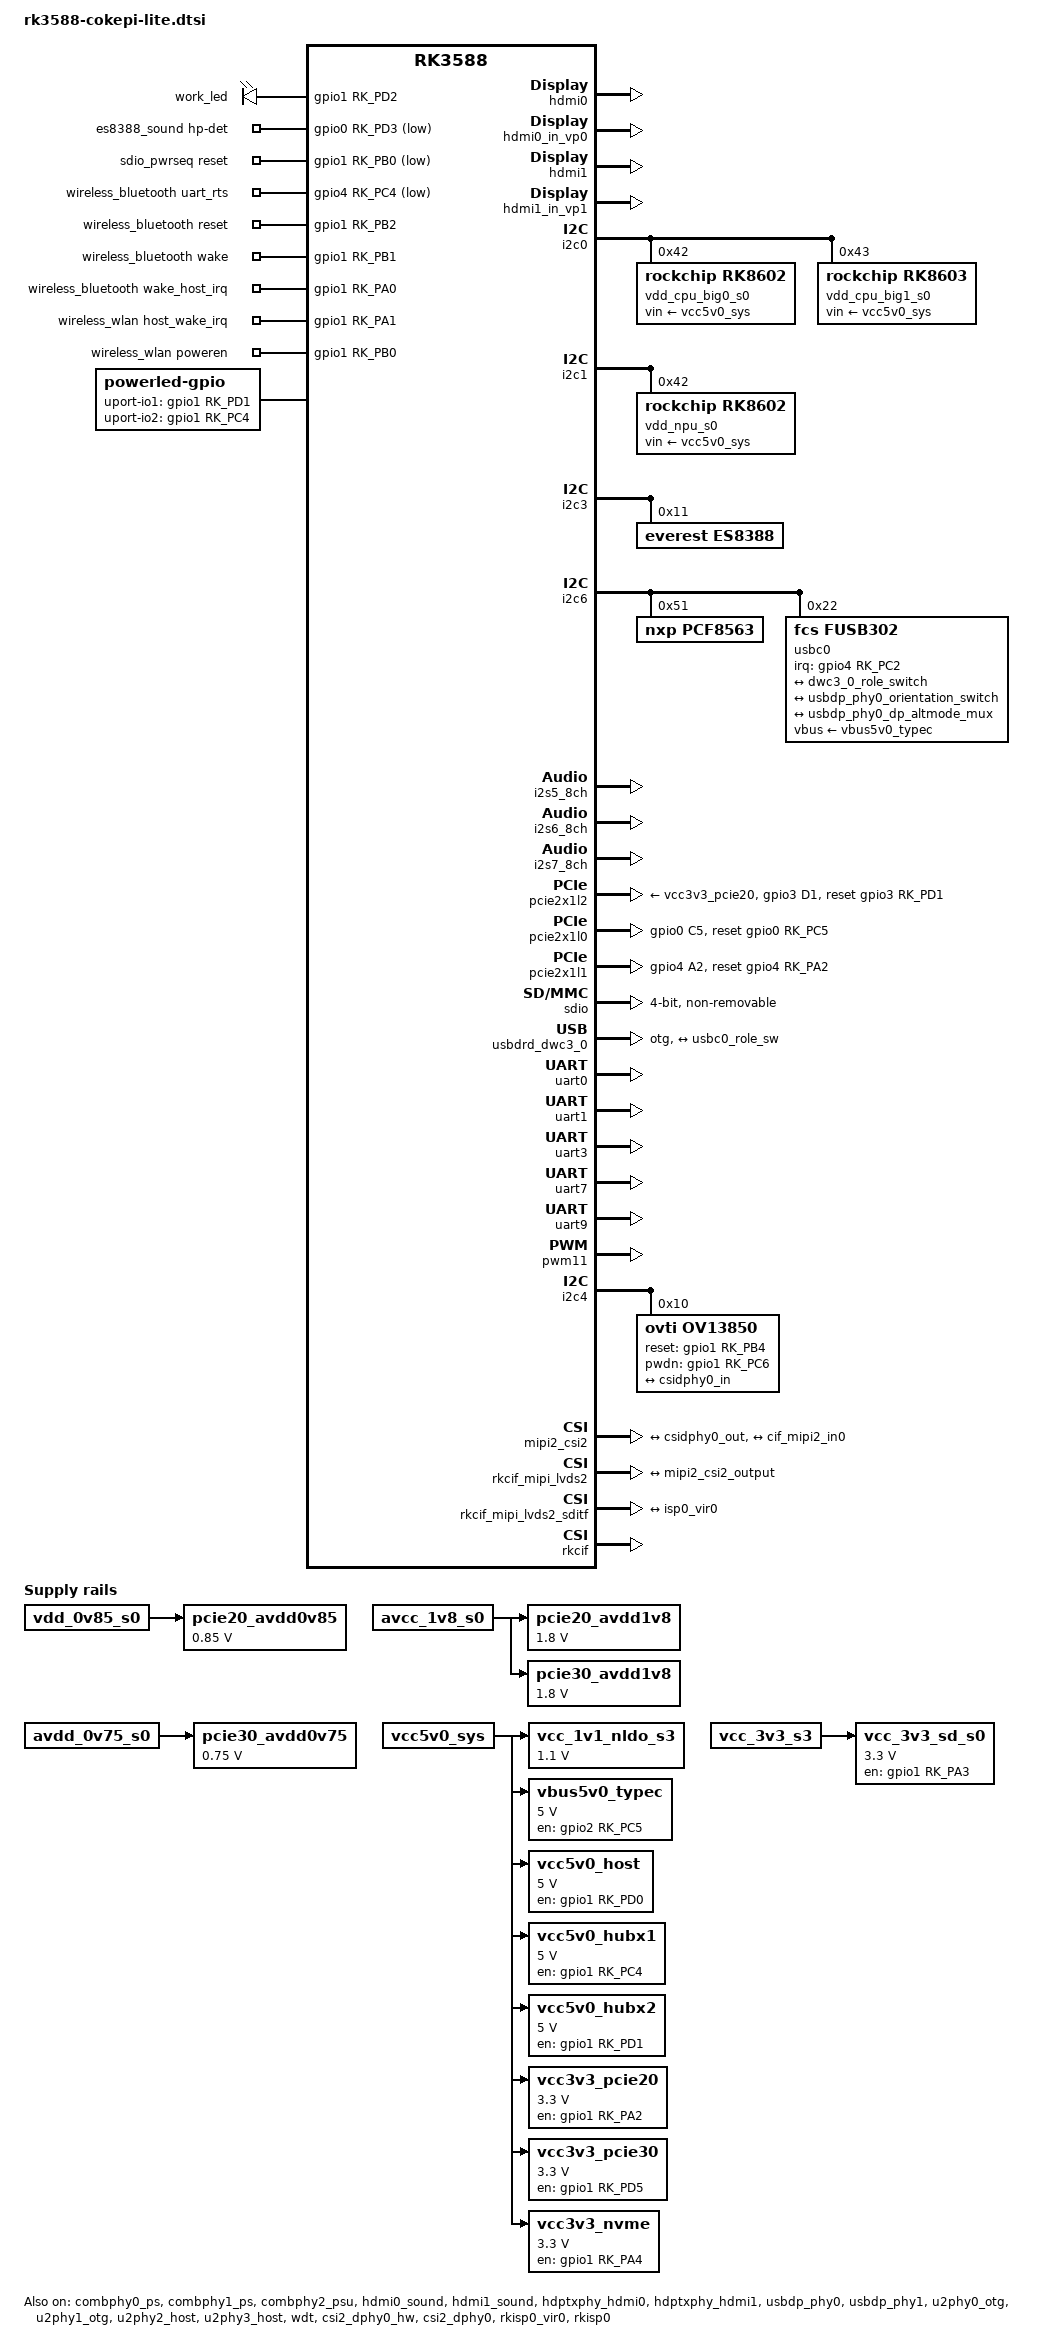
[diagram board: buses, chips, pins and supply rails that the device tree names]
// SPDX-License-Identifier: (GPL-2.0+ OR MIT)
/*
 * Copyright (c) 2021 Rockchip Electronics Co., Ltd.
 *
 */

#include "dt-bindings/usb/pd.h"
#include "rk3588.dtsi"
#include "rk3588-cokepi.dtsi"
#include "rk3588-rk806-single.dtsi"

#define HDMIRX_ENABLE 0

#define MIPI_CSI_DPHY0 1
#define MIPI_CSI_DPHY1 0

/ {
	/* If hdmirx node is enabled, should add cma reserved-memory */

	rk_keys: rockchip-keys {
		status = "disabled";
		compatible = "rockchip,keys";
	};

	leds: leds {
		compatible = "gpio-leds";
		work_led: work {
			gpios = <&gpio1 RK_PD2 GPIO_ACTIVE_HIGH>;
			linux,default-trigger = "heartbeat";
		};
	};

	es8388_sound: es8388-sound {
		status = "okay";
		compatible = "rockchip,multicodecs-card";
		rockchip,card-name = "rockchip-es8388i";
		hp-det-gpio = <&gpio0 RK_PD3 GPIO_ACTIVE_LOW>; /* HIGH to force!! */
		spk-con-gpio;
		hp-con-gpio;
		rockchip,format = "i2s";
		rockchip,mclk-fs = <256>;
		rockchip,cpu = <&i2s0_8ch>;
		rockchip,codec = <&es8388>;
		rockchip,audio-routing =
			/*"Headphone", "LOUT1",
			"Headphone", "ROUT1",
			"Speaker", "LOUT2",
			"Speaker", "ROUT2",*/
			"Headphone", "Headphone Power",
			"Headphone", "Headphone Power",
			"Speaker", "Speaker Power",
			"Speaker", "Speaker Power",
			"LINPUT1", "Main Mic",
			"LINPUT2", "Main Mic",
			"RINPUT1", "Headset Mic",
			"RINPUT2", "Headset Mic";
		pinctrl-names = "default";
		pinctrl-0 = <&hp_det>;
	};

#if (HDMIRX_ENABLE == 1)
	hdmiin-sound {
		compatible = "rockchip,hdmi";
		rockchip,mclk-fs = <128>;
		rockchip,format = "i2s";
		rockchip,bitclock-master = <&hdmirx_ctrler>;
		rockchip,frame-master = <&hdmirx_ctrler>;
		rockchip,card-name = "rockchip,hdmiin";
		rockchip,cpu = <&i2s7_8ch>;
		rockchip,codec = <&hdmirx_ctrler 0>;
		rockchip,jack-det;
	};
#endif

	pcie20_avdd0v85: pcie20-avdd0v85 {
		compatible = "regulator-fixed";
		regulator-name = "pcie20_avdd0v85";
		regulator-boot-on;
		regulator-always-on;
		regulator-min-microvolt = <850000>;
		regulator-max-microvolt = <850000>;
		vin-supply = <&vdd_0v85_s0>;
	};

	pcie20_avdd1v8: pcie20-avdd1v8 {
		compatible = "regulator-fixed";
		regulator-name = "pcie20_avdd1v8";
		regulator-boot-on;
		regulator-always-on;
		regulator-min-microvolt = <1800000>;
		regulator-max-microvolt = <1800000>;
		vin-supply = <&avcc_1v8_s0>;
	};

	pcie30_avdd0v75: pcie30-avdd0v75 {
		compatible = "regulator-fixed";
		regulator-name = "pcie30_avdd0v75";
		regulator-boot-on;
		regulator-always-on;
		regulator-min-microvolt = <750000>;
		regulator-max-microvolt = <750000>;
		vin-supply = <&avdd_0v75_s0>;
	};

	pcie30_avdd1v8: pcie30-avdd1v8 {
		compatible = "regulator-fixed";
		regulator-name = "pcie30_avdd1v8";
		regulator-boot-on;
		regulator-always-on;
		regulator-min-microvolt = <1800000>;
		regulator-max-microvolt = <1800000>;
		vin-supply = <&avcc_1v8_s0>;
	};

	rk_headset: rk-headset {
		status = "disabled";
		compatible = "rockchip_headset";
		io-channels = <&saradc 3>;
	};

	vcc_1v1_nldo_s3: vcc-1v1-nldo-s3 {
		compatible = "regulator-fixed";
		regulator-name = "vcc_1v1_nldo_s3";
		regulator-always-on;
		regulator-boot-on;
		regulator-min-microvolt = <1100000>;
		regulator-max-microvolt = <1100000>;
		vin-supply = <&vcc5v0_sys>;
	};

	vbus5v0_typec: vbus5v0-typec {
		compatible = "regulator-fixed";
		regulator-name = "vbus5v0_typec";
		regulator-min-microvolt = <5000000>;
		regulator-max-microvolt = <5000000>;
		enable-active-high;
		gpio = <&gpio2 RK_PC5 GPIO_ACTIVE_HIGH>;
		vin-supply = <&vcc5v0_sys>;
		pinctrl-names = "default";
		pinctrl-0 = <&typec5v_pwren>;
	};

	vcc5v0_host: vcc5v0-host {
		compatible = "regulator-fixed";
		regulator-name = "vcc5v0_host";
		regulator-min-microvolt = <5000000>;
		regulator-max-microvolt = <5000000>;
		enable-active-high;
		gpio = <&gpio1 RK_PD0 GPIO_ACTIVE_HIGH>;
		vin-supply = <&vcc5v0_sys>;
		pinctrl-names = "default";
		pinctrl-0 = <&host5v_pwren>;
	};

	vcc5v0_hubx1: vcc5v0-hubx1 {
		compatible = "regulator-fixed";
		regulator-name = "vcc5v0_hub3x1";
		regulator-min-microvolt = <5000000>;
		regulator-max-microvolt = <5000000>;
		enable-active-high;
		regulator-boot-on;
		regulator-always-on;
		gpio = <&gpio1 RK_PC4 GPIO_ACTIVE_HIGH>;
		vin-supply = <&vcc5v0_sys>;
		pinctrl-names = "default";
		pinctrl-0 = <&hub5v_pon1>;
	};

	vcc5v0_hubx2: vcc5v0-hubx2 {
		compatible = "regulator-fixed";
		regulator-name = "vcc5v0_hub3x2";
		regulator-min-microvolt = <5000000>;
		regulator-max-microvolt = <5000000>;
		enable-active-high;
		regulator-boot-on;
		regulator-always-on;
		gpio = <&gpio1 RK_PD1 GPIO_ACTIVE_HIGH>;
		vin-supply = <&vcc5v0_sys>;
		pinctrl-names = "default";
		pinctrl-0 = <&hub5v_pon2>;
	};

	vcc_3v3_sd_s0: vcc-3v3-sd-s0-regulator {
		compatible = "regulator-fixed";
		gpio = <&gpio1 RK_PA3 GPIO_ACTIVE_HIGH>;
		pinctrl-names = "default";
		pinctrl-0 = <&sd_s0_pwr>;
		regulator-name = "vcc_3v3_sd_s0";
		regulator-min-microvolt = <3300000>;
		regulator-max-microvolt = <3300000>;
		startup-delay-us = <100000>;
		enable-active-high;
		regulator-boot-on;
		regulator-always-on;
		vin-supply = <&vcc_3v3_s3>;
	};

	sdio_pwrseq: sdio-pwrseq {
		compatible = "mmc-pwrseq-simple";
		clocks = <&xin32k>; /*pcf8563*/
		clock-names = "ext_clock";
		pinctrl-names = "default";
		pinctrl-0 = <&wifi_enable_h>;
		/*
		 * On the module itself this is one of these (depending
		 * on the actual card populated):
		 * - SDIO_RESET_L_WL_REG_ON
		 * - PDN (power down when low)
		 */
		post-power-on-delay-ms = <200>;
		reset-gpios = <&gpio1 RK_PB0 GPIO_ACTIVE_LOW>;
	};

	wireless_bluetooth: wireless-bluetooth {
		compatible = "bluetooth-platdata";
		clocks = <&xin32k>; /*pcf8563*/
		clock-names = "ext_clock";
		uart_rts_gpios = <&gpio4 RK_PC4 GPIO_ACTIVE_LOW>;
		pinctrl-names = "default", "rts_gpio";
		pinctrl-0 = <&uart9m0_rtsn>, <&bt_reset_gpio>, <&bt_wake_gpio>, <&bt_irq_gpio>;
		pinctrl-1 = <&uart9_gpios>;
		BT,reset_gpio    = <&gpio1 RK_PB2 GPIO_ACTIVE_HIGH>;
		BT,wake_gpio     = <&gpio1 RK_PB1 GPIO_ACTIVE_HIGH>;
		BT,wake_host_irq = <&gpio1 RK_PA0 GPIO_ACTIVE_HIGH>;
		status = "okay";
	};

	wireless_wlan: wireless-wlan {
		compatible = "wlan-platdata";
		wifi_chip_type = "ap6212";
		pinctrl-names = "default";
		pinctrl-0 = <&wifi_host_wake_irq>;
		WIFI,host_wake_irq = <&gpio1 RK_PA1 GPIO_ACTIVE_HIGH>;
		WIFI,poweren_gpio = <&gpio1 RK_PB0 GPIO_ACTIVE_HIGH>;
		status = "okay";
	};

	powerled-gpio {
		compatible = "powerled-gpio";
		status = "okay";

		uport-io1 = <&gpio1 RK_PD1 GPIO_ACTIVE_HIGH>;
		uport-io2 = <&gpio1 RK_PC4 GPIO_ACTIVE_HIGH>;
	};

	vcc3v3_pcie20: vcc3v3-pcie20 {
		compatible = "regulator-fixed";
		regulator-name = "vcc3v3_pcie20";
		regulator-min-microvolt = <3300000>;
		regulator-max-microvolt = <3300000>;
		enable-active-high;
		gpios = <&gpio1 RK_PA2 GPIO_ACTIVE_HIGH>;
		startup-delay-us = <5000>;
		vin-supply = <&vcc5v0_sys>;
	};

	vcc3v3_pcie30: vcc3v3-pcie30 {
		compatible = "regulator-fixed";
		regulator-name = "vcc3v3_pcie30";
		regulator-min-microvolt = <3300000>;
		regulator-max-microvolt = <3300000>;
		enable-active-high;
		gpios = <&gpio1 RK_PD5 GPIO_ACTIVE_HIGH>;
		startup-delay-us = <5000>;
		vin-supply = <&vcc5v0_sys>;
	};

	vcc3v3_nvme: vcc3v3-nvme {
		compatible = "regulator-fixed";
		regulator-name = "vcc3v3_nvme";
		regulator-min-microvolt = <3300000>;
		regulator-max-microvolt = <3300000>;
		enable-active-high;
		regulator-boot-on;
		regulator-always-on;
		gpios = <&gpio1 RK_PA4 GPIO_ACTIVE_HIGH>;
		startup-delay-us = <5000>;
		vin-supply = <&vcc5v0_sys>;
	};
};

&combphy0_ps {
	status = "okay";
};

&combphy1_ps {
	status = "okay";
};

&combphy2_psu {
	status = "okay";
};

&dp0 {
	status = "disabled";
};

&dp1 {
	status = "disabled";
};

/*
 * mipi_dcphy0 needs to be enabled
 * when dsi0 is enabled
 */
&dsi0 {
	status = "disabled";
};

/*
 * mipi_dcphy1 needs to be enabled
 * when dsi1 is enabled
 */
&dsi1 {
	status = "disabled";
};

&dsi1_in_vp2 {
	status = "disabled";
};

&dsi1_in_vp3 {
	status = "disabled";
};

&hdmi0 {
	enable-gpios = <&gpio1 RK_PD6 GPIO_ACTIVE_HIGH>;
	status = "okay";
};

&hdmi0_in_vp0 {
	status = "okay";
};

&hdmi0_sound {
	status = "okay";
};

&hdmi1 {
	status = "okay";
	pinctrl-names = "default";
	pinctrl-0 = <&hdmim0_tx1_hpd &hdmim1_tx1_scl &hdmim1_tx1_sda>;
};

&hdmi1_in_vp1 {
	status = "okay";
};

&hdmi1_sound {
	status = "okay";
};

/* FIXME: only rk3588-nvr enabled below */
&display_subsystem {
	clocks = <&hdptxphy_hdmi_clk0>, <&hdptxphy_hdmi_clk1>;
	clock-names = "hdmi0_phy_pll", "hdmi1_phy_pll";
};

&hdptxphy_hdmi_clk0 {
	status = "okay";
};

&hdptxphy_hdmi_clk1 {
	status = "okay";
};

/* Should work with at least 128MB cma reserved above. */
#if (HDMIRX_ENABLE == 1)
&hdmirx_ctrler {
	status = "okay";

	/* Effective level used to trigger HPD: 0-low, 1-high */
	hpd-trigger-level = <1>;
	hdmirx-det-gpios = <&gpio1 RK_PB5 GPIO_ACTIVE_LOW>;
	pinctrl-names = "default";
	pinctrl-0 = <&hdmim1_rx &hdmirx_det>;
};
#endif

&hdptxphy_hdmi0 {
	status = "okay";
};

&hdptxphy_hdmi1 {
	status = "okay";
};

&i2c0 {
	status = "okay";
	pinctrl-names = "default";
	pinctrl-0 = <&i2c0m2_xfer>;

	vdd_cpu_big0_s0: vdd_cpu_big0_mem_s0: rk8602@42 {
		compatible = "rockchip,rk8602";
		reg = <0x42>;
		vin-supply = <&vcc5v0_sys>;
		regulator-compatible = "rk860x-reg";
		regulator-name = "vdd_cpu_big0_s0";
		regulator-min-microvolt = <550000>;
		regulator-max-microvolt = <1050000>;
		regulator-ramp-delay = <2300>;
		rockchip,suspend-voltage-selector = <1>;
		regulator-boot-on;
		regulator-always-on;
		regulator-state-mem {
			regulator-off-in-suspend;
		};
	};

	vdd_cpu_big1_s0: vdd_cpu_big1_mem_s0: rk8603@43 {
		compatible = "rockchip,rk8603";
		reg = <0x43>;
		vin-supply = <&vcc5v0_sys>;
		regulator-compatible = "rk860x-reg";
		regulator-name = "vdd_cpu_big1_s0";
		regulator-min-microvolt = <550000>;
		regulator-max-microvolt = <1050000>;
		regulator-ramp-delay = <2300>;
		rockchip,suspend-voltage-selector = <1>;
		regulator-boot-on;
		regulator-always-on;
		regulator-state-mem {
			regulator-off-in-suspend;
		};
	};
};

&i2c1 {
	status = "okay";
	pinctrl-names = "default";
	pinctrl-0 = <&i2c1m2_xfer>;

	vdd_npu_s0: vdd_npu_mem_s0: rk8602@42 {
		compatible = "rockchip,rk8602";
		reg = <0x42>;
		vin-supply = <&vcc5v0_sys>;
		regulator-compatible = "rk860x-reg";
		regulator-name = "vdd_npu_s0";
		regulator-min-microvolt = <550000>;
		regulator-max-microvolt = <950000>;
		regulator-ramp-delay = <2300>;
		rockchip,suspend-voltage-selector = <1>;
		regulator-boot-on;
		regulator-always-on;
		regulator-state-mem {
			regulator-off-in-suspend;
		};
	};
};

&i2c3 {
	status = "okay";
	es8388: es8388@11 {
		status = "okay";
		#sound-dai-cells = <0>;
		compatible = "everest,es8388", "everest,es8323";
		reg = <0x11>;
		clocks = <&mclkout_i2s0>;
		clock-names = "mclk";
		assigned-clocks = <&mclkout_i2s0>;
		assigned-clock-rates = <12288000>;
		pinctrl-names = "default";
		pinctrl-0 = <&i2s0_mclk>;
	};
};

&i2c6 {
	status = "okay";

	pcf8563: pcf8563@51 {
		compatible = "nxp,pcf8563";
		reg = <0x51>;
		status = "okay";
		/*
		#clock-cells = <0>;
		clock-frequency = <32768>;
		clock-output-names = "pcf8563";
		*/
	};

	usbc0: fusb302@22 {
		compatible = "fcs,fusb302";
		reg = <0x22>;
		interrupt-parent = <&gpio4>;
		interrupts = <RK_PC2 IRQ_TYPE_LEVEL_LOW>;
		pinctrl-names = "default";
		pinctrl-0 = <&usbc0_int>;
		vbus-supply = <&vbus5v0_typec>;
		status = "okay";

		ports {
			#address-cells = <1>;
			#size-cells = <0>;

			port@0 {
				reg = <0>;
				usbc0_role_sw: endpoint@0 {
					remote-endpoint = <&dwc3_0_role_switch>;
				};
			};
		};

		usb_con: connector {
			compatible = "usb-c-connector";
			label = "USB-C";
			data-role = "dual";
			power-role = "dual";
			try-power-role = "sink";
			op-sink-microwatt = <1000000>;
			sink-pdos =
				<PDO_FIXED(5000, 1000, PDO_FIXED_USB_COMM)>;
			source-pdos =
				<PDO_FIXED(5000, 3000, PDO_FIXED_USB_COMM)>;

			altmodes {
				#address-cells = <1>;
				#size-cells = <0>;

				altmode@0 {
					reg = <0>;
					svid = <0xff01>;
					vdo = <0xffffffff>;
				};
			};

			ports {
				#address-cells = <1>;
				#size-cells = <0>;

				port@0 {
					reg = <0>;
					usbc0_orien_sw: endpoint {
						remote-endpoint = <&usbdp_phy0_orientation_switch>;
					};
				};

				port@1 {
					reg = <1>;
					dp_altmode_mux: endpoint {
						remote-endpoint = <&usbdp_phy0_dp_altmode_mux>;
					};
				};

			};
		};
	};
};

&i2c7 {
	status = "disabled";
	pinctrl-names = "default";
	pinctrl-0 = <&i2c7m3_xfer>;
};

&i2s5_8ch {
	status = "okay";
};

&i2s6_8ch {
	status = "okay";
};

&i2s7_8ch {
	status = "okay";
};

&mipi_dcphy0 {
	status = "disabled";
};

&mipi_dcphy1 {
	status = "disabled";
};

/* pcie2x1l2 -> combphy0_ps and enable if card mounted
 */
&pcie2x1l2 {
	status = "okay";
	reset-gpios = <&gpio3 RK_PD1 GPIO_ACTIVE_HIGH>;
	vpcie3v3-supply = <&vcc3v3_pcie20>;
	pinctrl-names = "default";
	pinctrl-0 = <&pcie20_rst>;
};

/* pcie2x1l2 -> combphy1_ps
 */
&pcie2x1l0 {
	reset-gpios = <&gpio0 RK_PC5 GPIO_ACTIVE_HIGH>;
	pinctrl-names = "default";
	pinctrl-0 = <&rtl8111_reset>;
	status = "okay";
};

/* pcie2x1l1 -> combphy2_psu
 */
&pcie2x1l1 {
	reset-gpios = <&gpio4 RK_PA2 GPIO_ACTIVE_HIGH>;
	pinctrl-names = "default";
	pinctrl-0 = <&rtl8111_reset2>;
	status = "okay";
};

/* Only enalbe pcie30phy and pcie3x4 if card mounted
 */
&pcie30phy {
	status = "disabled";
};

&pcie3x4 {
	status = "disabled";
	reset-gpios = <&gpio4 RK_PB6 GPIO_ACTIVE_HIGH>;
	vpcie3v3-supply = <&vcc3v3_pcie30>;
	pinctrl-names = "default";
	pinctrl-0 = <&pcie30_rst>;
};

&pinctrl {
	hdmirx {
		hdmirx_det: hdmirx-det {
			rockchip,pins = <1 RK_PB5 RK_FUNC_GPIO &pcfg_pull_up>;
		};
	};

	headphone {
		hp_det: hp-det {
			rockchip,pins = <0 RK_PD3 RK_FUNC_GPIO &pcfg_pull_none>;
		};
	};

	mipi {
		dsi0_lcd_en: dsi0-lcd-en {
			rockchip,pins = <2 RK_PC1 RK_FUNC_GPIO &pcfg_pull_none>;
		};

		dsi0_lcd_rst: dsi0-lcd-rst {
			rockchip,pins = <1 RK_PA7 RK_FUNC_GPIO &pcfg_pull_none>;
		};

		dsi1_lcd_en: dsi1-lcd-en {
			rockchip,pins = <4 RK_PC6 RK_FUNC_GPIO &pcfg_pull_none>;
		};

		dsi1_lcd_rst: dsi1-lcd-rst {
			rockchip,pins = <2 RK_PB6 RK_FUNC_GPIO &pcfg_pull_none>;
		};
	};

	rtl8111 {
		rtl8111_reset: rtl8111-reset {
			rockchip,pins = <0 RK_PC5 RK_FUNC_GPIO &pcfg_pull_up>;
		};
		rtl8111_reset2: rtl8111-reset2 {
			rockchip,pins = <4 RK_PA2 RK_FUNC_GPIO &pcfg_pull_up>;
		};
	};

	usb-host20 {
		host5v_pwren: host5v-pwren {
			rockchip,pins = <1 RK_PD0 RK_FUNC_GPIO &pcfg_pull_none>;
		};
	};

	usb-typec {
		usbc0_int: usbc0-int {
			rockchip,pins = <4 RK_PC2 RK_FUNC_GPIO &pcfg_pull_up>;
		};

		typec5v_pwren: typec5v-pwren {
			rockchip,pins = <2 RK_PC5 RK_FUNC_GPIO &pcfg_pull_none>;
		};
	};

	usb-hub30 {
		hub5v_pon1: hub5v-pon1 {
			rockchip,pins = <1 RK_PC4 RK_FUNC_GPIO &pcfg_pull_none>;
		};
		hub5v_pon2: hub5v-pon2 {
			rockchip,pins = <1 RK_PD1 RK_FUNC_GPIO &pcfg_pull_none>;
		};
	};

	sdio-pwrseq {
		wifi_enable_h: wifi-enable-h {
			rockchip,pins = <1 RK_PB0 RK_FUNC_GPIO &pcfg_pull_up>;
		};
	};

	sdmmc-ctrl {
		sd_s0_pwr: sd-s0-pwr {
			rockchip,pins = <1 RK_PA3 RK_FUNC_GPIO &pcfg_pull_up>;
		};
	};

	wireless-bluetooth {
		uart9_gpios: uart9-gpios {
			rockchip,pins = <4 RK_PC4 RK_FUNC_GPIO &pcfg_pull_none>;
		};

		bt_reset_gpio: bt-reset-gpio {
			rockchip,pins = <1 RK_PB2 RK_FUNC_GPIO &pcfg_pull_none>;
		};

		bt_wake_gpio: bt-wake-gpio {
			rockchip,pins = <1 RK_PB1 RK_FUNC_GPIO &pcfg_pull_none>;
		};

		bt_irq_gpio: bt-irq-gpio {
			rockchip,pins = <1 RK_PA0 RK_FUNC_GPIO &pcfg_pull_down>;
		};
	};

	wireless-wlan {
		wifi_host_wake_irq: wifi-host-wake-irq {
			rockchip,pins = <1 RK_PA1 RK_FUNC_GPIO &pcfg_pull_down>;
		};
	};

	power-hold {
		hold_gpio: hold-gpio {
			rockchip,pins = <0 RK_PB0 RK_FUNC_GPIO &pcfg_pull_none>;
		};
	};

	pcie20 {
		pcie20_rst: pcie20-rst {
			rockchip,pins = <3 RK_PD1 RK_FUNC_GPIO &pcfg_pull_none>;
		};
	};

	pcie30 {
		pcie30_rst: pcie30-rst {
			rockchip,pins = <4 RK_PB6 RK_FUNC_GPIO &pcfg_pull_none>;
		};
	};
};

&sdio {
	max-frequency = <150000000>;
	no-sd;
	no-mmc;
	bus-width = <4>;
	disable-wp;
	cap-sd-highspeed;
	cap-sdio-irq;
	keep-power-in-suspend;
	mmc-pwrseq = <&sdio_pwrseq>;
	non-removable;
	pinctrl-names = "default";
	pinctrl-0 = <&sdiom0_pins>;
	//sd-uhs-sdr104;
	status = "okay";
};

&usbdp_phy0 {
	status = "okay";

	orientation-switch;
	svid = <0xff01>;
	sbu1-dc-gpios = <&gpio3 RK_PC4 GPIO_ACTIVE_HIGH>;
	sbu2-dc-gpios = <&gpio3 RK_PC3 GPIO_ACTIVE_HIGH>;

	port {
		#address-cells = <1>;
		#size-cells = <0>;
		usbdp_phy0_orientation_switch: endpoint@0 {
			reg = <0>;
			remote-endpoint = <&usbc0_orien_sw>;
		};

		usbdp_phy0_dp_altmode_mux: endpoint@1 {
			reg = <1>;
			remote-endpoint = <&dp_altmode_mux>;
		};
	};
};

&usbdp_phy1 {
	rockchip,dp-lane-mux = <2 3>;
	status = "okay";
};

&u2phy0_otg {
	status = "okay";
	rockchip,typec-vbus-det;
};

&u2phy1_otg {
	status = "okay";
};

&u2phy2_host {
	status = "okay";
	phy-supply = <&vcc5v0_host>;
};

&u2phy3_host {
	status = "okay";
	phy-supply = <&vcc5v0_host>;
};

&usbdrd_dwc3_0 {
	status = "okay";
	dr_mode = "otg";
	usb-role-switch;
	port {
		#address-cells = <1>;
		#size-cells = <0>;
		dwc3_0_role_switch: endpoint@0 {
			reg = <0>;
			remote-endpoint = <&usbc0_role_sw>;
		};
	};
};

&usbhost3_0 {
	status = "disabled";
};

&usbhost_dwc3_0 {
	status = "disabled";
};

&usbdp_phy0_dp {
	status = "disabled";
};

&usbdp_phy1_dp {
	status = "disabled";
};

&uart0 {
	status = "okay";
	pinctrl-names = "default";
	pinctrl-0 = <&uart0m2_xfer>;
};

&uart1 {
	status = "okay";
	pinctrl-names = "default";
	pinctrl-0 = <&uart1m1_xfer>;
};

&uart2 {
	//status = "okay";
	status = "disabled";
	pinctrl-names = "default";
	pinctrl-0 = <&uart2m0_xfer>;
};

&uart3 {
	status = "okay";
	pinctrl-names = "default";
	pinctrl-0 = <&uart3m2_xfer>;
};

&uart7 {
	status = "okay";
	pinctrl-names = "default";
	pinctrl-0 = <&uart7m1_xfer>;
};

&uart9 {
	status = "okay";
	pinctrl-names = "default";
	pinctrl-0 = <&uart9m0_xfer &uart9m0_ctsn>;
};

/* i2c7&can1 conflicted!
 */
&can1 {
	assigned-clocks = <&cru CLK_CAN1>;
	assigned-clock-rates = <200000000>;
	pinctrl-names = "default";
	pinctrl-0 = <&can1m1_pins>;
	//status = "okay";
	status = "disabled";
};

/* FIXME: it might cause suspicious halt?
 */
&wdt {
	status = "okay";
};

/* IR should use pwm11
 */
&pwm11 {
	compatible = "rockchip,remotectl-pwm";
	pinctrl-names = "default";
	pinctrl-0 = <&pwm11m3_pins>;
	remote_pwm_id = <11>;
	handle_cpu_id = <1>;
	remote_support_psci = <0>;
	status = "okay";

	ir_key1 {
		rockchip,usercode = <0x4040>;
		rockchip,key_table =
			<0xB2 KEY_PAUSE>,
			<0xF0 KEY_MUTE>,
			<0xFF KEY_0>,
			<0xFE KEY_1>,
			<0xFD KEY_2>,
			<0xFC KEY_3>,
			<0xFB KEY_4>,
			<0xFA KEY_5>,
			<0xF9 KEY_6>,
			<0xF8 KEY_7>,
			<0xF7 KEY_8>,
			<0xF6 KEY_9>,
			<0xBA KEY_BACKSPACE>,
			<0xEC KEY_TAB>,
			<0xEA KEY_VOLUMEUP>,
			<0xE3 KEY_VOLUMEDOWN>,
			<0xE1 KEY_PAGEUP>,
			<0xE0 KEY_PAGEDOWN>,
			<0xBC KEY_F5>,
			<0xE8 KEY_F6>,
			<0xE5 KEY_HOME>,
			<0xBD KEY_ESC>,
			<0xE2 KEY_F7>,
			<0xB8 KEY_F8>,
			<0xF4 KEY_UP>,
			<0xF1 KEY_DOWN>,
			<0xEF KEY_LEFT>,
			<0xEE KEY_RIGHT>,
			<0xF2 KEY_ENTER>,
			<0xE9 KEY_B>,
			<0xB0 KEY_F>,
			<0xBE KEY_P>,
			<0xE6 KEY_N>,
			<0xE7 KEY_A>,
			<0xB5 KEY_S>,
			<0xB9 KEY_P>,
			<0xED KEY_E>,
			<0xE4 KEY_F9>,
			<0xEB KEY_F10>,
			<0x03 KEY_F11>,
			<0xBB KEY_F12>,
			<0xAC KEY_F1>,
			<0xA4 KEY_F2>,
			<0xA8 KEY_F3>,
			<0xAB KEY_F4>;
	};

	ir_key2 {
		rockchip,usercode = <0x7F80>;
		rockchip,key_table =
			<0xED KEY_PAUSE>,
			<0xE1 KEY_HOME>,
			<0xFD KEY_UP>,
			<0xF7 KEY_DOWN>,
			<0xFB KEY_LEFT>,
			<0xF9 KEY_RIGHT>,
			<0xFA KEY_ENTER>,
			<0xF5 KEY_F8>,
			<0xE0 KEY_ESC>;
	};
};

/* ---- MIPI CSI2 camera support start ----
 */

#if (MIPI_CSI_DPHY0 == 1)

/* hw: dphy0-[0|1] + dphy0-[2|3] -> sw: csi2_dphy0 full mode
 */
&i2c4 {
	status = "okay";
	pinctrl-names = "default";
	pinctrl-0 = <&i2c4m1_xfer>;

	ov13850: ov13850@10 {
		compatible = "ovti,ov13850";
		status = "okay";
		reg = <0x10>;
		clocks = <&cru CLK_MIPI_CAMARAOUT_M4>;
		clock-names = "xvclk";
		power-domains = <&power RK3588_PD_VI>;
		pinctrl-names = "default";
		pinctrl-0 = <&mipim0_camera4_clk>;
		rockchip,grf = <&sys_grf>;
		reset-gpios = <&gpio1 RK_PB4 GPIO_ACTIVE_HIGH>;
		pwdn-gpios = <&gpio1 RK_PC6 GPIO_ACTIVE_HIGH>;
		rockchip,camera-module-index = <0>;
		rockchip,camera-module-facing = "back";
		rockchip,camera-module-name = "CMK-OT2016-FV1";
		rockchip,camera-module-lens-name = "default";
		port {
			ov13850_out: endpoint {
				remote-endpoint = <&csidphy0_in>;
				data-lanes = <1 2 3 4>;
			};
		};
	};
};

&csi2_dphy0_hw {
	status = "okay";
};

&csi2_dphy0 {
	status = "okay";

	ports {
		#address-cells = <1>;
		#size-cells = <0>;
		port@0 {
			reg = <0>;
			#address-cells = <1>;
			#size-cells = <0>;

			csidphy0_in: endpoint@1 {
				reg = <1>;
				remote-endpoint = <&ov13850_out>;
				data-lanes = <1 2 3 4>;
			};
		};
		port@1 {
			reg = <1>;
			#address-cells = <1>;
			#size-cells = <0>;

			csidphy0_out: endpoint@0 {
				reg = <0>;
				remote-endpoint = <&mipi2_csi2_input>;
			};
		};
	};
};

&mipi2_csi2 {
	status = "okay";

	ports {
		#address-cells = <1>;
		#size-cells = <0>;

		port@0 {
			reg = <0>;
			#address-cells = <1>;
			#size-cells = <0>;

			mipi2_csi2_input: endpoint@1 {
				reg = <1>;
				remote-endpoint = <&csidphy0_out>;
			};
		};

		port@1 {
			reg = <1>;
			#address-cells = <1>;
			#size-cells = <0>;

			mipi2_csi2_output: endpoint@0 {
				reg = <0>;
				remote-endpoint = <&cif_mipi2_in0>;
			};
		};
	};
};

&rkcif_mipi_lvds2 {
	status = "okay";

	port {
		cif_mipi2_in0: endpoint {
			remote-endpoint = <&mipi2_csi2_output>;
		};
	};
};

&rkcif_mipi_lvds2_sditf {
	status = "okay";

	port {
		mipi_lvds2_sditf: endpoint {
			remote-endpoint = <&isp0_vir0>;
		};
	};
};

&rkisp0_vir0 {
	status = "okay";

	port {
		#address-cells = <1>;
		#size-cells = <0>;

		isp0_vir0: endpoint@0 {
			reg = <0>;
			remote-endpoint = <&mipi_lvds2_sditf>;
		};
	};
};

#endif /* MIPI_CSI_DPHY0 */

#if (MIPI_CSI_DPHY1 == 1)

/* hw: dphy3-[0|1] + dphy3-[2|3] -> sw: csi2_dphy1 full mode
 */
&i2c4 {
	status = "okay";
	pinctrl-names = "default";
	pinctrl-0 = <&i2c4m1_xfer>;

#if 1
	ov13850: ov13850@10 {
		compatible = "ovti,ov13850";
		status = "okay";
		reg = <0x10>;
		clocks = <&cru REFCLKO25M_ETH0_OUT>;
		clock-names = "xvclk";
		power-domains = <&power RK3588_PD_VI>;
		pinctrl-names = "default";
		pinctrl-0 = <&refclk_pins>;
		rockchip,grf = <&sys_grf>;
		reset-gpios = <&gpio0 RK_PB0 GPIO_ACTIVE_HIGH>;
		pwdn-gpios = <&gpio0 RK_PB2 GPIO_ACTIVE_HIGH>;
		rockchip,camera-module-index = <0>;
		rockchip,camera-module-facing = "back";
		rockchip,camera-module-name = "CMK-OT2016-FV1";
		rockchip,camera-module-lens-name = "default";
		port {
			ov1385x_out: endpoint {
				remote-endpoint = <&csidphy3_in>;
				data-lanes = <1 2 3 4>;
			};
		};
	};
#else
	ov13855: ov13855@36 {
		compatible = "ovti,ov13855";
		status = "okay";
		reg = <0x36>;
		clocks = <&cru REFCLKO25M_ETH0_OUT>;
		clock-names = "xvclk";
		power-domains = <&power RK3588_PD_VI>;
		pinctrl-names = "default";
		pinctrl-0 = <&refclk_pins>;
		rockchip,grf = <&sys_grf>;
		reset-gpios = <&gpio0 RK_PB0 GPIO_ACTIVE_HIGH>;
		pwdn-gpios = <&gpio0 RK_PB2 GPIO_ACTIVE_HIGH>;
		rockchip,camera-module-index = <1>;
		rockchip,camera-module-facing = "front";
		rockchip,camera-module-name = "CMK-OT2016-FV1";
		rockchip,camera-module-lens-name = "default";
		port {
			ov1385x_out: endpoint {
				remote-endpoint = <&csidphy3_in>;
				data-lanes = <1 2 3 4>;
			};
		};
	};
#endif
};

&csi2_dphy1_hw {
	status = "okay";
};

&csi2_dphy3 {
	status = "okay";

	ports {
		#address-cells = <1>;
		#size-cells = <0>;
		port@0 {
			reg = <0>;
			#address-cells = <1>;
			#size-cells = <0>;

			csidphy3_in: endpoint@1 {
				reg = <1>;
				remote-endpoint = <&ov1385x_out>;
				data-lanes = <1 2 3 4>;
			};
		};
		port@1 {
			reg = <1>;
			#address-cells = <1>;
			#size-cells = <0>;

			csidphy3_out: endpoint@0 {
				reg = <0>;
				remote-endpoint = <&mipi4_csi2_input>;
			};
		};
	};
};

&mipi4_csi2 {
	status = "okay";

	ports {
		#address-cells = <1>;
		#size-cells = <0>;

		port@0 {
			reg = <0>;
			#address-cells = <1>;
			#size-cells = <0>;

			mipi4_csi2_input: endpoint@1 {
				reg = <1>;
				remote-endpoint = <&csidphy3_out>;
			};
		};

		port@1 {
			reg = <1>;
			#address-cells = <1>;
			#size-cells = <0>;

			mipi4_csi2_output: endpoint@0 {
				reg = <0>;
				remote-endpoint = <&cif_mipi4_in0>;
			};
		};
	};
};

&rkcif_mipi_lvds4 {
	status = "okay";

	port {
		cif_mipi4_in0: endpoint {
			remote-endpoint = <&mipi4_csi2_output>;
		};
	};
};

&rkcif_mipi_lvds4_sditf {
	status = "okay";

	port {
		mipi_lvds4_sditf: endpoint {
			remote-endpoint = <&isp0_vir1>;
		};
	};
};

&rkisp0_vir1 {
	status = "okay";

	port {
		#address-cells = <1>;
		#size-cells = <0>;

		isp0_vir1: endpoint@0 {
			reg = <0>;
			remote-endpoint = <&mipi_lvds4_sditf>;
		};
	};
};

#endif /* MIPI_CSI_DPHY1 */

&rkcif {
	status = "okay";
};

&rkcif_mmu {
	status = "okay";
};

&rkisp0 {
	status = "okay";
};

&isp0_mmu {
	status = "okay";
};
